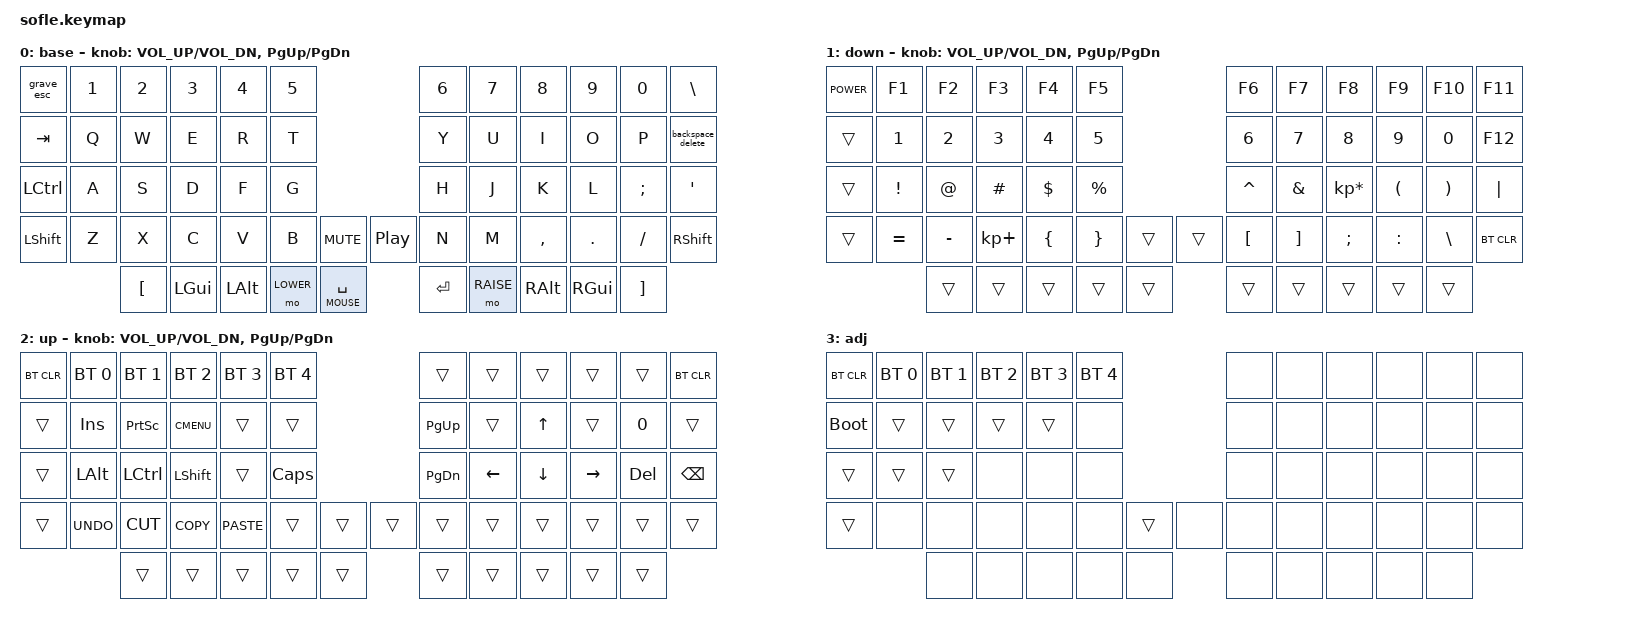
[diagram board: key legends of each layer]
/*
 * Copyright (c) 2020 The ZMK Contributors
 *
 * SPDX-License-Identifier: MIT
 */

// Must be defined before including pointing.h to take effect
#define ZMK_POINTING_DEFAULT_MOVE_VAL 800  // default 600
#define ZMK_POINTING_DEFAULT_SCRL_VAL 20   // default 10

#include <behaviors.dtsi>
#include <dt-bindings/zmk/bt.h>
#include <dt-bindings/zmk/ext_power.h>
#include <dt-bindings/zmk/keys.h>
#include <dt-bindings/zmk/pointing.h>

#define BASE 0
#define LOWER 1
#define RAISE 2
#define ADJUST 3
#define MOUSE 4
#define FAST_MOUSE 5
#define SLOW_MOUSE 6

#define TAPPING_TERM 275
#define QUICK_TAP 0


&lt { 
    flavor = "balanced";
    tapping-term-ms = <TAPPING_TERM>;
    quick-tap-ms = <QUICK_TAP>; 
};

&mmv {
    acceleration-exponent = <1>;  // 1
    time-to-max-speed-ms = <300>; // 300
    delay-ms = <0>;
    trigger-period-ms = <8>;      // 16
};

&msc {
    acceleration-exponent = <1>;  // 0
    time-to-max-speed-ms = <40>;  // 300
    delay-ms = <0>;
    trigger-period-ms = <8>;      // 16
};

/ {
    // Activate ADJUST layer by pressing raise and lower
    conditional_layers {
        compatible = "zmk,conditional-layers";

        adjust_layer_conditional {
            if-layers = <LOWER RAISE>;
            then-layer = <ADJUST>;
        };
    };

    behaviors {
        grave_esc: grave_esc {
            compatible = "zmk,behavior-mod-morph";
            label = "GRAVE_ESC";
            bindings = <&kp ESC>, <&kp GRAVE>;

            #binding-cells = <0>;
            mods = <(MOD_LSFT|MOD_LGUI|MOD_RGUI|MOD_RSFT)>;
        };

        backspace_delete: backspace_delete {
            compatible = "zmk,behavior-mod-morph";
            label = "BACKSPACE_DELETE";
            bindings = <&kp BACKSPACE>, <&kp DELETE>;

            #binding-cells = <0>;
            mods = <(MOD_LSFT|MOD_RSFT)>;
        };

         // Mouse (de)acceleration
         fmmv: fast_mouse_move {
            compatible = "zmk,behavior-input-two-axis";
            #binding-cells = <1>;
            x-input-code = <INPUT_REL_X>;
            y-input-code = <INPUT_REL_Y>;
            acceleration-exponent = <1>;  // 1
            time-to-max-speed-ms = <300>; // 300
            delay-ms = <0>;
            trigger-period-ms = <8>;      // 16
        };
        
        smmv: slow_mouse_move {
            compatible = "zmk,behavior-input-two-axis";
            #binding-cells = <1>;
            x-input-code = <INPUT_REL_X>;
            y-input-code = <INPUT_REL_Y>;
            acceleration-exponent = <1>;  // 1
            time-to-max-speed-ms = <300>; // 300
            delay-ms = <0>;
            trigger-period-ms = <8>;      // 16
        };
    };

    // // Mouse (de)acceleration
    // fmmv_input_listener: fmmv_input_listener {
    //     compatible = "zmk,input-listener";
    //     device = <&fmmv>;
    //     scale-multiplier = <2>;
    //     scale-divisor = <1>;
    // };
    // smmv_input_listener: smmv_input_listener {
    //     compatible = "zmk,input-listener";
    //     device = <&smmv>;
    //     scale-multiplier = <1>;
    //     scale-divisor = <2>;
    // };

    keymap {
        compatible = "zmk,keymap";

        default_layer {
            // ------------------------------------------------------------------------------------------------------------
            // |  ESC  |  1  |  2  |  3   |  4   |  5   |                   |  6   |  7    |  8    |  9   |   0   |   |    |
            // |  TAB  |  Q  |  W  |  E   |  R   |  T   |                   |  Y   |  U    |  I    |  O   |   P   | BKSPC |
            // |  TAB  |  A  |  S  |  D   |  F   |  G   |                   |  H   |  J    |  K    |  L   |   ;   |   '   |
            // | SHIFT |  Z  |  X  |  C   |  V   |  B   |  MUTE  |  | PLAY  |  N   |  M    |  ,    |  .   |   /   | SHIFT |
            //               | GUI | ALT  | CTRL | LOWER|  ENTER |  | SPACE | RAISE| CTRL  | ALT   | GUI  |
            display-name = "base";
            bindings = <
&grave_esc  &kp N1  &kp N2            &kp N3    &kp N4    &kp N5                                     &kp N6     &kp N7    &kp N8     &kp N9             &kp N0    &kp BSLH
&kp TAB     &kp Q   &kp W             &kp E     &kp R     &kp T                                      &kp Y      &kp U     &kp I      &kp O              &kp P     &backspace_delete
&kp LCTRL   &kp A   &kp S             &kp D     &kp F     &kp G                                      &kp H      &kp J     &kp K      &kp L              &kp SEMI  &kp SQT
&kp LSHFT   &kp Z   &kp X             &kp C     &kp V     &kp B      &kp C_MUTE    &kp C_PLAY_PAUSE  &kp N      &kp M     &kp COMMA  &kp DOT            &kp FSLH  &kp RSHFT
                    &kp LEFT_BRACKET  &kp LGUI  &kp LALT  &mo LOWER  &lt MOUSE SPACE     &kp ENTER         &mo RAISE  &kp RALT  &kp RGUI   &kp RIGHT_BRACKET
            >;

            sensor-bindings = <&inc_dec_kp C_VOL_UP C_VOL_DN &inc_dec_kp PG_UP PG_DN>;
        };

        lower_layer  {
            // Layer 1
            // ------------------------------------------------------------------------------------------------------------
            // |       |  F1 |  F2 |  F3  |  F4  |  F5  |                   |  F6  |  F7   |  F8   |  F9  |  F10  |  F11  |
            // | `     |   1 |   2 |   3  |   4  |   5  |                   |   6  |   7   |   8   |   9  |    0  |  F12  |
            // |       |  !  |  @  |  #   |  $   |  %   |                   |  ^   |  &    |  *    |  (   |   )   |   |   |
            // |       |  =  |  -  |  +   |  {   |  }   |        |  |       |  [   |  ]    |  ;    |  :   |   \   |       |
            //               |     |      |      |      |        |  |       |      |       |       |      |
            display-name = "down";
            bindings = <
&kp K_POWER &kp F1     &kp F2     &kp F3       &kp F4    &kp F5                       &kp F6     &kp F7    &kp F8           &kp F9     &kp F10   &kp F11
&trans      &kp N1     &kp N2     &kp N3       &kp N4    &kp N5                       &kp N6     &kp N7    &kp N8           &kp N9     &kp N0    &kp F12
&trans      &kp EXCL   &kp AT     &kp HASH     &kp DLLR  &kp PRCNT                    &kp CARET  &kp AMPS  &kp KP_MULTIPLY  &kp LPAR   &kp RPAR  &kp PIPE
&trans      &kp EQUAL  &kp MINUS  &kp KP_PLUS  &kp LBRC  &kp RBRC   &trans    &trans  &kp LBKT   &kp RBKT  &kp SEMI         &kp COLON  &kp BSLH  &bt BT_CLR
                       &trans     &trans       &trans    &trans     &trans    &trans  &trans     &trans    &trans           &trans
            >;

            sensor-bindings = <&inc_dec_kp C_VOL_UP C_VOL_DN &inc_dec_kp PG_UP PG_DN>;
        };

        raise_layer {
            // Layer 2
            // ----------------------------------------------------------------------------------------------------------
            // |BTCLR| BT1  | BT2  |  BT3  |  BT4  |  BT5 |                |      |      |       |      |       |       |
            // |     | INS  | PSCR | GUI   |       |      |                | PGUP |      |   ^   |      |       |       |
            // |     | ALT  | CTRL | SHIFT |       | CAPS |                | PGDN |   <- |   v   |  ->  |  DEL  | BKSPC |
            // |     | UNDO | CUT  | COPY  | PASTE |      |      |  |      |      |      |       |      |       |       |
            //              |      |       |       |      |      |  |      |      |      |       |      |
            display-name = "up";
            bindings = <
&bt BT_CLR  &bt BT_SEL 0  &bt BT_SEL 1  &bt BT_SEL 2  &bt BT_SEL 3  &bt BT_SEL 4                 &trans     &trans    &trans    &trans     &trans   &bt BT_CLR
&trans      &kp INS       &kp PSCRN     &kp K_CMENU   &trans        &trans                       &kp PG_UP  &trans    &kp UP    &trans     &kp N0   &trans
&trans      &kp LALT      &kp LCTRL     &kp LSHFT     &trans        &kp CLCK                     &kp PG_DN  &kp LEFT  &kp DOWN  &kp RIGHT  &kp DEL  &kp BSPC
&trans      &kp K_UNDO    &kp K_CUT     &kp K_COPY    &kp K_PASTE   &trans     &trans    &trans  &trans     &trans    &trans    &trans     &trans   &trans
                          &trans        &trans        &trans        &trans     &trans    &trans  &trans     &trans    &trans    &trans
            >;

            sensor-bindings = <&inc_dec_kp C_VOL_UP C_VOL_DN &inc_dec_kp PG_UP PG_DN>;
        };

        adjust_layer {
            // Layer 3 
            // --------------------------------------------------------------------------------------------------------------
            // |BTCLR | BT1   | BT2   |  BT3  |  BT4  |  BT5  |                |      |      |       |      |       |       |
            // |      |       |       |       |       |       |                |      |      |       |      |       |       |
            // |      |       |       |       |       |       |                |      |      |       |      |       |       |
            // |      |       |       |       |       |       |     |   |      |      |      |       |      |       |       |
            display-name = "adj";
            bindings = <
&bt BT_CLR  &bt BT_SEL 0   &bt BT_SEL 1  &bt BT_SEL 2   &bt BT_SEL 3  &bt BT_SEL 4             &none  &none  &none  &none  &none  &none
&bootloader &trans         &trans        &trans         &trans        &none                    &none  &none  &none  &none  &none  &none
&trans      &trans         &trans        &none          &none         &none                    &none  &none  &none  &none  &none  &none
&trans      &none          &none         &none          &none         &none   &trans    &none  &none  &none  &none  &none  &none  &none
                           &none         &none          &none         &none   &none     &none  &none  &none  &none  &none
            >;
        };

//         mouse_layer {
//             // Layer 5 
//             // --------------------------------------------------------------------------------------------------------------
//             // |      |       |       |       |       |       |                |      |      |       |      |       |       |
//             // |      |       |       |       |       |       |                |      |      |       |      |       |       |
//             // |      |       |       |       |       |       |                |      |      |       |      |       |       |
//             // |      |       |       |       |       |       |     |   |      |      |      |       |      |       |       |
//             display-name = "mse";
//             bindings = <
// &none       &none          &none             &none      &none              &none                              &none      &none            &none            &none              &none  &none
// &none       &none          &mkp RCLK         &none      &mkp LCLK          &none                              &none      &none            &mmv MOVE_UP     &none              &none  &none
// &none       &none          &mo SLOW_MOUSE    &none      &mo FAST_MOUSE     &none                              &none      &mmv MOVE_LEFT   &mmv MOVE_DOWN   &mmv MOVE_RIGHT    &none  &none
// &none       &none          &none             &none      &none              &none   &none          &none       &none      &none            &none            &none              &none  &none
//                            &none             &none      &none              &none   &none          &none       &none      &none            &none            &none
//             >;
//         };

//         fast_mouse_layer {
//             // Layer 5
//             // --------------------------------------------------------------------------------------------------------------
//             // |      |       |       |       |       |       |                |      |      |       |      |       |       |
//             // |      |       |       |       |       |       |                |      |      |       |      |       |       |
//             // |      |       |       |       |       |       |                |      |      |       |      |       |       |
//             // |      |       |       |       |       |       |     |   |      |      |      |       |      |       |       |
//             display-name = "fmse";
//             bindings = <
// &none       &none          &none         &none          &none         &none                              &none      &none            &none            &none              &none  &none
// &none       &none          &mkp RCLK     &none          &mkp LCLK     &none                              &none      &none            &fmmv MOVE_UP    &none              &none  &none
// &none       &none          &none         &none          &none         &none                              &none      &fmmv MOVE_LEFT  &fmmv MOVE_DOWN  &fmmv MOVE_RIGHT   &none  &none
// &none       &none          &none         &none          &none         &none   &none          &none       &none      &none            &none            &none              &none  &none
//                            &none         &none          &none         &none   &none          &none       &none      &none            &none            &none
//             >;
//         };

//         slow_mouse_layer {
//             // Layer 6
//             // --------------------------------------------------------------------------------------------------------------
//             // |      |       |       |       |       |       |                |      |      |       |      |       |       |
//             // |      |       |       |       |       |       |                |      |      |       |      |       |       |
//             // |      |       |       |       |       |       |                |      |      |       |      |       |       |
//             // |      |       |       |       |       |       |     |   |      |      |      |       |      |       |       |
//             display-name = "smse";
//             bindings = <
// &none       &none          &none         &none          &none         &none                              &none      &none            &none            &none              &none  &none
// &none       &none          &mkp RCLK     &none          &mkp LCLK     &none                              &none      &none            &smmv MOVE_UP    &none              &none  &none
// &none       &none          &none         &none          &none         &none                              &none      &smmv MOVE_LEFT  &smmv MOVE_DOWN  &smmv MOVE_RIGHT   &none  &none
// &none       &none          &none         &none          &none         &none   &none          &none       &none      &none            &none            &none              &none  &none
//                            &none         &none          &none         &none   &none          &none       &none      &none            &none            &none
//             >;
//         };
    };
};
